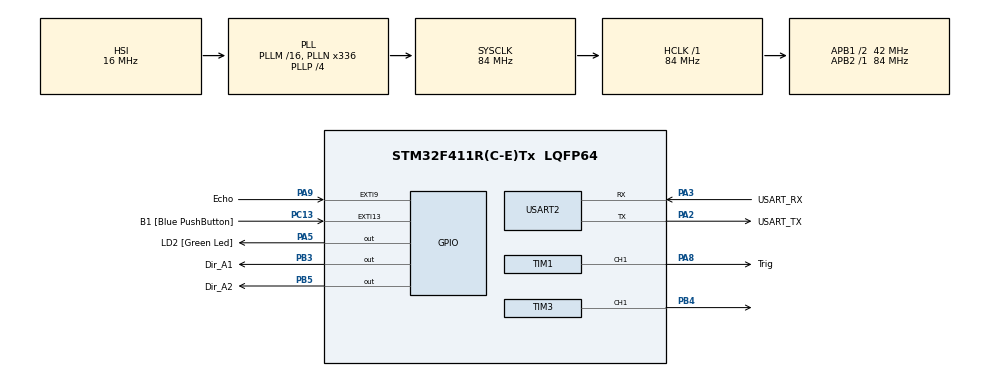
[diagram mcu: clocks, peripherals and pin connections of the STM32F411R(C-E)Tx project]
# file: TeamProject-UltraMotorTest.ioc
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Mcu.Family=STM32F4
Mcu.Name=STM32F411R(C-E)Tx
Mcu.Package=LQFP64
NVIC.EXTI9_5_IRQn=true\:0\:0\:false\:false\:true\:true\:true\:true
NVIC.PriorityGroup=NVIC_PRIORITYGROUP_0
PA13.GPIO_Label=TMS
PA13.Mode=Serial_Wire
PA13.Signal=SYS_JTMS-SWDIO
PA14.GPIO_Label=TCK
PA14.Mode=Serial_Wire
PA14.Signal=SYS_JTCK-SWCLK
PA2.GPIO_Label=USART_TX
PA2.Mode=Asynchronous
PA2.Signal=USART2_TX
PA3.GPIO_Label=USART_RX
PA3.Mode=Asynchronous
PA3.Signal=USART2_RX
PA5.GPIO_Label=LD2 [Green Led]
PA5.Signal=GPIO_Output
PA8.GPIO_Label=Trig
PA8.Signal=S_TIM1_CH1
PA9.GPIO_Label=Echo
PA9.GPIO_ModeDefaultEXTI=GPIO_MODE_IT_RISING_FALLING
PA9.Signal=GPXTI9
PB3.GPIO_Label=Dir_A1
PB3.Signal=GPIO_Output
PB4.Signal=S_TIM3_CH1
PB5.GPIO_Label=Dir_A2
PB5.Signal=GPIO_Output
PC13-ANTI_TAMP.GPIO_Label=B1 [Blue PushButton]
PC13-ANTI_TAMP.GPIO_ModeDefaultEXTI=GPIO_MODE_IT_FALLING
PC13-ANTI_TAMP.Signal=GPXTI13
PC14-OSC32_IN.Mode=LSE-External-Oscillator
PC14-OSC32_IN.Signal=RCC_OSC32_IN
PC15-OSC32_OUT.Mode=LSE-External-Oscillator
PC15-OSC32_OUT.Signal=RCC_OSC32_OUT
PH0\ -\ OSC_IN.Mode=HSE-External-Clock-Source
PH0\ -\ OSC_IN.Signal=RCC_OSC_IN
PH1\ -\ OSC_OUT.Mode=HSE-External-Clock-Source
PH1\ -\ OSC_OUT.Signal=RCC_OSC_OUT
ProjectManager.HeapSize=0x200
ProjectManager.StackSize=0x400
ProjectManager.TargetToolchain=STM32CubeIDE
RCC.48MHZClocksFreq_Value=84000000
RCC.AHBFreq_Value=84000000
RCC.APB1CLKDivider=RCC_HCLK_DIV2
RCC.APB1Freq_Value=42000000
RCC.APB1TimFreq_Value=84000000
RCC.APB2Freq_Value=84000000
RCC.APB2TimFreq_Value=84000000
RCC.CortexFreq_Value=84000000
RCC.FLatency-AdvancedSettings=FLASH_LATENCY_2
RCC.HCLKFreq_Value=84000000
RCC.HSE_VALUE=8000000
RCC.HSI_VALUE=16000000
RCC.PLLN=336
RCC.PLLP=RCC_PLLP_DIV4
RCC.SYSCLKFreq_VALUE=84000000
RCC.SYSCLKSource=RCC_SYSCLKSOURCE_PLLCLK
RCC.VCOOutputFreq_Value=336000000
SH.S_TIM1_CH1.0=TIM1_CH1,PWM Generation1 CH1
SH.S_TIM3_CH1.0=TIM3_CH1,PWM Generation1 CH1
TIM1.Channel-PWM\ Generation1\ CH1=TIM_CHANNEL_1
TIM1.Period=60000-1
TIM1.Prescaler=84-1
TIM1.Pulse-PWM\ Generation1\ CH1=10
TIM2.Period=10000-1
TIM2.Prescaler=84-1
TIM3.Channel-PWM\ Generation1\ CH1=TIM_CHANNEL_1
TIM3.Period=1000-1
TIM3.Prescaler=84-1
USART2.VirtualMode=VM_ASYNC
VP_TIM1_VS_ClockSourceINT.Mode=Internal
VP_TIM2_VS_ClockSourceINT.Mode=Internal
VP_TIM3_VS_ClockSourceINT.Mode=Internal
board=NUCLEO-F411RE

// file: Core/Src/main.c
/* USER CODE BEGIN Header */
/**
  ******************************************************************************
  * @file           : main.c
  * @brief          : Main program body
  ******************************************************************************
  * @attention
  *
  * Copyright (c) 2025 STMicroelectronics.
  * All rights reserved.
  *
  * This software is licensed under terms that can be found in the LICENSE file
  * in the root directory of this software component.
  * If no LICENSE file comes with this software, it is provided AS-IS.
  *
  ******************************************************************************
  */
/* USER CODE END Header */
#include "main.h"

TIM_HandleTypeDef htim1;
TIM_HandleTypeDef htim2;
TIM_HandleTypeDef htim3;

UART_HandleTypeDef huart2;

void SystemClock_Config(void);
static void MX_GPIO_Init(void);
static void MX_USART2_UART_Init(void);
static void MX_TIM3_Init(void);
static void MX_TIM2_Init(void);
static void MX_TIM1_Init(void);

/* USER CODE BEGIN 0 */
int t1 = 0, t2 = 0;
double dist = 0.0;
void HAL_GPIO_EXTI_Callback(uint16_t GPIO_Pin)
{

	if(GPIO_Pin == Echo_Pin)
	{
		if(HAL_GPIO_ReadPin(Echo_GPIO_Port, Echo_Pin) == 1) //rising edge
		{
			// t1 = htim3.Instance->CNT;
			htim2.Instance->CNT = 0;
		}
		else  //falling edge
		{
			t2 = htim2.Instance->CNT;
			dist = t2 * 0.17;
			// dist = (t2 - t1) * 0.17;
		}
	}
}
/* USER CODE END 0 */

int main(void)
{

  /* MCU Configuration--------------------------------------------------------*/

  /* Reset of all peripherals, Initializes the Flash interface and the Systick. */
  HAL_Init();

  /* Configure the system clock */
  SystemClock_Config();

  /* Initialize all configured peripherals */
  MX_GPIO_Init();
  MX_USART2_UART_Init();
  MX_TIM3_Init();
  MX_TIM2_Init();
  MX_TIM1_Init();
  /* USER CODE BEGIN 2 */
  ProgramStart ("Teamproject_test Start");
  HAL_GPIO_WritePin(Dir_A1_GPIO_Port, Dir_A1_Pin, 1);
  HAL_GPIO_WritePin(Dir_A2_GPIO_Port, Dir_A2_Pin, 0);
  HAL_TIM_PWM_Start(&htim1, TIM_CHANNEL_1);
  HAL_TIM_Base_Start_IT(&htim2);
  HAL_TIM_PWM_Start(&htim3, TIM_CHANNEL_1);

  int dr = 30, dr1 = 30, dr2 = 50, dr3 = 90;

  /* USER CODE END 2 */

  /* Infinite loop */
  /* USER CODE BEGIN WHILE */
  while (1)
  {
	  printf("Distance = %f\r\n" , dist);

	  if(dist < 100)
	  		  {
	  			  dr = 1;
	  		  }
	  		  else if(dist < 200) dr = dr1;
	  		  else if(dist < 300) dr = dr2;
	  		  else dr = dr3;
	  		  htim3.Instance->CCR1 = htim3.Instance->ARR * dr / 100;

	  		  HAL_Delay(150);

    /* USER CODE END WHILE */

  }
}

void SystemClock_Config(void)
{
  RCC_OscInitTypeDef RCC_OscInitStruct = {0};
  RCC_ClkInitTypeDef RCC_ClkInitStruct = {0};

  /** Configure the main internal regulator output voltage
  */
  __HAL_RCC_PWR_CLK_ENABLE();
  __HAL_PWR_VOLTAGESCALING_CONFIG(PWR_REGULATOR_VOLTAGE_SCALE1);

  /** Initializes the RCC Oscillators according to the specified parameters
  * in the RCC_OscInitTypeDef structure.
  */
  RCC_OscInitStruct.OscillatorType = RCC_OSCILLATORTYPE_HSI;
  RCC_OscInitStruct.HSIState = RCC_HSI_ON;
  RCC_OscInitStruct.HSICalibrationValue = RCC_HSICALIBRATION_DEFAULT;
  RCC_OscInitStruct.PLL.PLLState = RCC_PLL_ON;
  RCC_OscInitStruct.PLL.PLLSource = RCC_PLLSOURCE_HSI;
  RCC_OscInitStruct.PLL.PLLM = 16;
  RCC_OscInitStruct.PLL.PLLN = 336;
  RCC_OscInitStruct.PLL.PLLP = RCC_PLLP_DIV4;
  RCC_OscInitStruct.PLL.PLLQ = 4;
  if (HAL_RCC_OscConfig(&RCC_OscInitStruct) != HAL_OK)
  {
    Error_Handler();
  }

  /** Initializes the CPU, AHB and APB buses clocks
  */
  RCC_ClkInitStruct.ClockType = RCC_CLOCKTYPE_HCLK|RCC_CLOCKTYPE_SYSCLK
                              |RCC_CLOCKTYPE_PCLK1|RCC_CLOCKTYPE_PCLK2;
  RCC_ClkInitStruct.SYSCLKSource = RCC_SYSCLKSOURCE_PLLCLK;
  RCC_ClkInitStruct.AHBCLKDivider = RCC_SYSCLK_DIV1;
  RCC_ClkInitStruct.APB1CLKDivider = RCC_HCLK_DIV2;
  RCC_ClkInitStruct.APB2CLKDivider = RCC_HCLK_DIV1;

  if (HAL_RCC_ClockConfig(&RCC_ClkInitStruct, FLASH_LATENCY_2) != HAL_OK)
  {
    Error_Handler();
  }
}

static void MX_TIM1_Init(void)
{

  TIM_ClockConfigTypeDef sClockSourceConfig = {0};
  TIM_MasterConfigTypeDef sMasterConfig = {0};
  TIM_OC_InitTypeDef sConfigOC = {0};
  TIM_BreakDeadTimeConfigTypeDef sBreakDeadTimeConfig = {0};

  htim1.Instance = TIM1;
  htim1.Init.Prescaler = 84-1;
  htim1.Init.CounterMode = TIM_COUNTERMODE_UP;
  htim1.Init.Period = 60000-1;
  htim1.Init.ClockDivision = TIM_CLOCKDIVISION_DIV1;
  htim1.Init.RepetitionCounter = 0;
  htim1.Init.AutoReloadPreload = TIM_AUTORELOAD_PRELOAD_DISABLE;
  if (HAL_TIM_Base_Init(&htim1) != HAL_OK)
  {
    Error_Handler();
  }
  sClockSourceConfig.ClockSource = TIM_CLOCKSOURCE_INTERNAL;
  if (HAL_TIM_ConfigClockSource(&htim1, &sClockSourceConfig) != HAL_OK)
  {
    Error_Handler();
  }
  if (HAL_TIM_PWM_Init(&htim1) != HAL_OK)
  {
    Error_Handler();
  }
  sMasterConfig.MasterOutputTrigger = TIM_TRGO_RESET;
  sMasterConfig.MasterSlaveMode = TIM_MASTERSLAVEMODE_DISABLE;
  if (HAL_TIMEx_MasterConfigSynchronization(&htim1, &sMasterConfig) != HAL_OK)
  {
    Error_Handler();
  }
  sConfigOC.OCMode = TIM_OCMODE_PWM1;
  sConfigOC.Pulse = 10;
  sConfigOC.OCPolarity = TIM_OCPOLARITY_HIGH;
  sConfigOC.OCNPolarity = TIM_OCNPOLARITY_HIGH;
  sConfigOC.OCFastMode = TIM_OCFAST_DISABLE;
  sConfigOC.OCIdleState = TIM_OCIDLESTATE_RESET;
  sConfigOC.OCNIdleState = TIM_OCNIDLESTATE_RESET;
  if (HAL_TIM_PWM_ConfigChannel(&htim1, &sConfigOC, TIM_CHANNEL_1) != HAL_OK)
  {
    Error_Handler();
  }
  sBreakDeadTimeConfig.OffStateRunMode = TIM_OSSR_DISABLE;
  sBreakDeadTimeConfig.OffStateIDLEMode = TIM_OSSI_DISABLE;
  sBreakDeadTimeConfig.LockLevel = TIM_LOCKLEVEL_OFF;
  sBreakDeadTimeConfig.DeadTime = 0;
  sBreakDeadTimeConfig.BreakState = TIM_BREAK_DISABLE;
  sBreakDeadTimeConfig.BreakPolarity = TIM_BREAKPOLARITY_HIGH;
  sBreakDeadTimeConfig.AutomaticOutput = TIM_AUTOMATICOUTPUT_DISABLE;
  if (HAL_TIMEx_ConfigBreakDeadTime(&htim1, &sBreakDeadTimeConfig) != HAL_OK)
  {
    Error_Handler();
  }
  HAL_TIM_MspPostInit(&htim1);

}

static void MX_TIM2_Init(void)
{

  TIM_ClockConfigTypeDef sClockSourceConfig = {0};
  TIM_MasterConfigTypeDef sMasterConfig = {0};

  htim2.Instance = TIM2;
  htim2.Init.Prescaler = 84-1;
  htim2.Init.CounterMode = TIM_COUNTERMODE_UP;
  htim2.Init.Period = 10000-1;
  htim2.Init.ClockDivision = TIM_CLOCKDIVISION_DIV1;
  htim2.Init.AutoReloadPreload = TIM_AUTORELOAD_PRELOAD_DISABLE;
  if (HAL_TIM_Base_Init(&htim2) != HAL_OK)
  {
    Error_Handler();
  }
  sClockSourceConfig.ClockSource = TIM_CLOCKSOURCE_INTERNAL;
  if (HAL_TIM_ConfigClockSource(&htim2, &sClockSourceConfig) != HAL_OK)
  {
    Error_Handler();
  }
  sMasterConfig.MasterOutputTrigger = TIM_TRGO_RESET;
  sMasterConfig.MasterSlaveMode = TIM_MASTERSLAVEMODE_DISABLE;
  if (HAL_TIMEx_MasterConfigSynchronization(&htim2, &sMasterConfig) != HAL_OK)
  {
    Error_Handler();
  }

}

static void MX_TIM3_Init(void)
{

  TIM_ClockConfigTypeDef sClockSourceConfig = {0};
  TIM_MasterConfigTypeDef sMasterConfig = {0};
  TIM_OC_InitTypeDef sConfigOC = {0};

  htim3.Instance = TIM3;
  htim3.Init.Prescaler = 84-1;
  htim3.Init.CounterMode = TIM_COUNTERMODE_UP;
  htim3.Init.Period = 1000-1;
  htim3.Init.ClockDivision = TIM_CLOCKDIVISION_DIV1;
  htim3.Init.AutoReloadPreload = TIM_AUTORELOAD_PRELOAD_DISABLE;
  if (HAL_TIM_Base_Init(&htim3) != HAL_OK)
  {
    Error_Handler();
  }
  sClockSourceConfig.ClockSource = TIM_CLOCKSOURCE_INTERNAL;
  if (HAL_TIM_ConfigClockSource(&htim3, &sClockSourceConfig) != HAL_OK)
  {
    Error_Handler();
  }
  if (HAL_TIM_PWM_Init(&htim3) != HAL_OK)
  {
    Error_Handler();
  }
  sMasterConfig.MasterOutputTrigger = TIM_TRGO_RESET;
  sMasterConfig.MasterSlaveMode = TIM_MASTERSLAVEMODE_DISABLE;
  if (HAL_TIMEx_MasterConfigSynchronization(&htim3, &sMasterConfig) != HAL_OK)
  {
    Error_Handler();
  }
  sConfigOC.OCMode = TIM_OCMODE_PWM1;
  sConfigOC.Pulse = 0;
  sConfigOC.OCPolarity = TIM_OCPOLARITY_HIGH;
  sConfigOC.OCFastMode = TIM_OCFAST_DISABLE;
  if (HAL_TIM_PWM_ConfigChannel(&htim3, &sConfigOC, TIM_CHANNEL_1) != HAL_OK)
  {
    Error_Handler();
  }
  HAL_TIM_MspPostInit(&htim3);

}

static void MX_USART2_UART_Init(void)
{

  huart2.Instance = USART2;
  huart2.Init.BaudRate = 115200;
  huart2.Init.WordLength = UART_WORDLENGTH_8B;
  huart2.Init.StopBits = UART_STOPBITS_1;
  huart2.Init.Parity = UART_PARITY_NONE;
  huart2.Init.Mode = UART_MODE_TX_RX;
  huart2.Init.HwFlowCtl = UART_HWCONTROL_NONE;
  huart2.Init.OverSampling = UART_OVERSAMPLING_16;
  if (HAL_UART_Init(&huart2) != HAL_OK)
  {
    Error_Handler();
  }

}

static void MX_GPIO_Init(void)
{
  GPIO_InitTypeDef GPIO_InitStruct = {0};

  /* GPIO Ports Clock Enable */
  __HAL_RCC_GPIOC_CLK_ENABLE();
  __HAL_RCC_GPIOH_CLK_ENABLE();
  __HAL_RCC_GPIOA_CLK_ENABLE();
  __HAL_RCC_GPIOB_CLK_ENABLE();

  /*Configure GPIO pin Output Level */
  HAL_GPIO_WritePin(LD2_GPIO_Port, LD2_Pin, GPIO_PIN_RESET);

  /*Configure GPIO pin Output Level */
  HAL_GPIO_WritePin(GPIOB, Dir_A1_Pin|Dir_A2_Pin, GPIO_PIN_RESET);

  /*Configure GPIO pin : B1_Pin */
  GPIO_InitStruct.Pin = B1_Pin;
  GPIO_InitStruct.Mode = GPIO_MODE_IT_FALLING;
  GPIO_InitStruct.Pull = GPIO_NOPULL;
  HAL_GPIO_Init(B1_GPIO_Port, &GPIO_InitStruct);

  /*Configure GPIO pin : LD2_Pin */
  GPIO_InitStruct.Pin = LD2_Pin;
  GPIO_InitStruct.Mode = GPIO_MODE_OUTPUT_PP;
  GPIO_InitStruct.Pull = GPIO_NOPULL;
  GPIO_InitStruct.Speed = GPIO_SPEED_FREQ_LOW;
  HAL_GPIO_Init(LD2_GPIO_Port, &GPIO_InitStruct);

  /*Configure GPIO pin : Echo_Pin */
  GPIO_InitStruct.Pin = Echo_Pin;
  GPIO_InitStruct.Mode = GPIO_MODE_IT_RISING_FALLING;
  GPIO_InitStruct.Pull = GPIO_NOPULL;
  HAL_GPIO_Init(Echo_GPIO_Port, &GPIO_InitStruct);

  /*Configure GPIO pins : Dir_A1_Pin Dir_A2_Pin */
  GPIO_InitStruct.Pin = Dir_A1_Pin|Dir_A2_Pin;
  GPIO_InitStruct.Mode = GPIO_MODE_OUTPUT_PP;
  GPIO_InitStruct.Pull = GPIO_NOPULL;
  GPIO_InitStruct.Speed = GPIO_SPEED_FREQ_LOW;
  HAL_GPIO_Init(GPIOB, &GPIO_InitStruct);

  /* EXTI interrupt init*/
  HAL_NVIC_SetPriority(EXTI9_5_IRQn, 0, 0);
  HAL_NVIC_EnableIRQ(EXTI9_5_IRQn);

}

void Error_Handler(void)
{
  __disable_irq();
  while (1)
  {
  }
}
